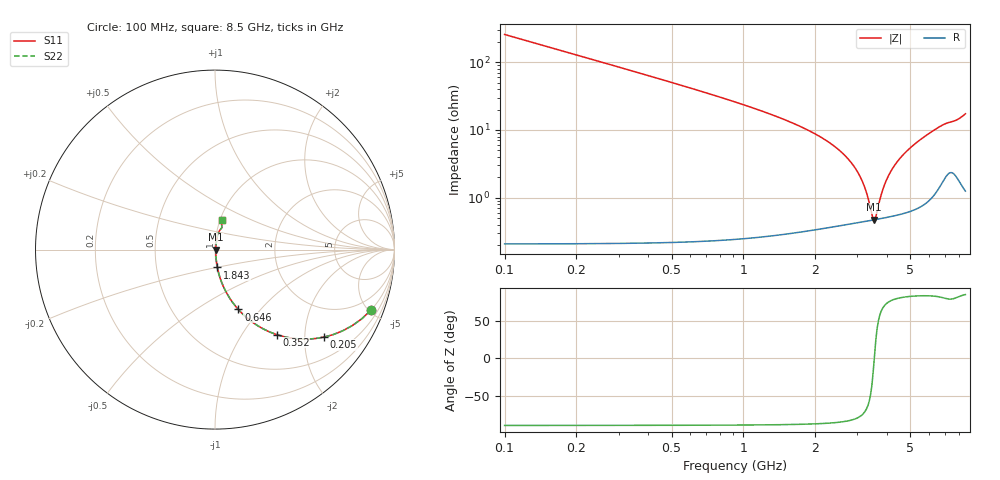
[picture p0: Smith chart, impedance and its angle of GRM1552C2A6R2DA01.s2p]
!Murata Part Number: GRM1552C2A6R2DA01
!These Parameters are Measured in Series Mode Connection
!Data Generated on Mar 30, 2021
!  o--ll--o
!Port1  Port2
!  o------o
!Operation Temp=25[degC], DC Bias Voltage=0[V]
!Freq. Start=100[MHz] Stop=9[GHz] 401[Steps]
# Hz S RI R 50
!Freq.(Hz) S11(Real) S11(Imag) S21(Real) S21(Imag) S12(Real) S12(Imag) S22(Real) S22(Imag)
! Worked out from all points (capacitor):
!   401 points, 100 MHz to 8.5 GHz, reference 50 ohm
!   read as one part in series: C = 6.2 pF near 142 MHz
!   lowest |Z| = 473 mohm at 3.523 GHz (marker M1)
!   series resonance near 3.53 GHz, so ESL is about 330 pH
!   S11 on the Smith chart (normalised r, x): 100 MHz: 1.00, -5.13; 205 MHz: 1.00, -2.50; 352 MHz: 1.00, -1.44; 646 MHz: 1.00, -0.77; 1.843 GHz: 1.01, -0.20; 8.5 GHz: 1.03, +0.35
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1e8  0.8679 -0.3382  0.1321 0.3382  0.1321 0.3382  0.8679 -0.3382
2.05e8  0.6088 -0.4872  0.3912 0.4872  0.3912 0.4872  0.6088 -0.4872
3.52e8  0.3431 -0.4733  0.6569 0.4733  0.6569 0.4733  0.3431 -0.4733
4.78e8  0.2184 -0.4111  0.7816 0.4111  0.7816 0.4111  0.2184 -0.4111
6.46e8  0.1299 -0.3333  0.8701 0.3333  0.8701 0.3333  0.1299 -0.3333
9.82e8  0.057 -0.2268  0.943 0.2268  0.943 0.2268  0.057 -0.2268
1.507e9  0.0218 -0.1358  0.9782 0.1358  0.9782 0.1358  0.0218 -0.1358
1.843e9  0.0133 -0.0997  0.9867 0.0997  0.9867 0.0997  0.0133 -0.0997
2.494e9  0.00645 -0.0512  0.9936 0.0512  0.9936 0.0512  0.00645 -0.0512
2.914e9  0.00497 -0.028  0.995 0.028  0.995 0.028  0.00497 -0.028
3.208e9  0.00463 -0.014  0.9954 0.014  0.9954 0.014  0.00463 -0.014
3.46e9  0.00466 -0.00294  0.9953 0.00294  0.9953 0.00294  0.00466 -0.00294
3.523e9  0.0047 -0.000303  0.9953 0.000303  0.9953 0.000303  0.0047 -0.000303
3.586e9  0.00476 0.00229  0.9952 -0.00229  0.9952 -0.00229  0.00476 0.00229
3.754e9  0.00498 0.00901  0.995 -0.00901  0.995 -0.00901  0.00498 0.00901
3.901e9  0.00524 0.0147  0.9948 -0.0147  0.9948 -0.0147  0.00524 0.0147
4.069e9  0.00562 0.021  0.9944 -0.021  0.9944 -0.021  0.00562 0.021
4.3e9  0.00627 0.0294  0.9937 -0.0294  0.9937 -0.0294  0.00627 0.0294
4.888e9  0.00858 0.0497  0.9914 -0.0497  0.9914 -0.0497  0.00858 0.0497
5.707e9  0.0138 0.0769  0.9862 -0.0769  0.9862 -0.0769  0.0138 0.0769
7.114e9  0.0353 0.1176  0.9647 -0.1176  0.9647 -0.1176  0.0353 0.1176
8.5e9  0.0404 0.1639  0.9596 -0.1639  0.9596 -0.1639  0.0404 0.1639
